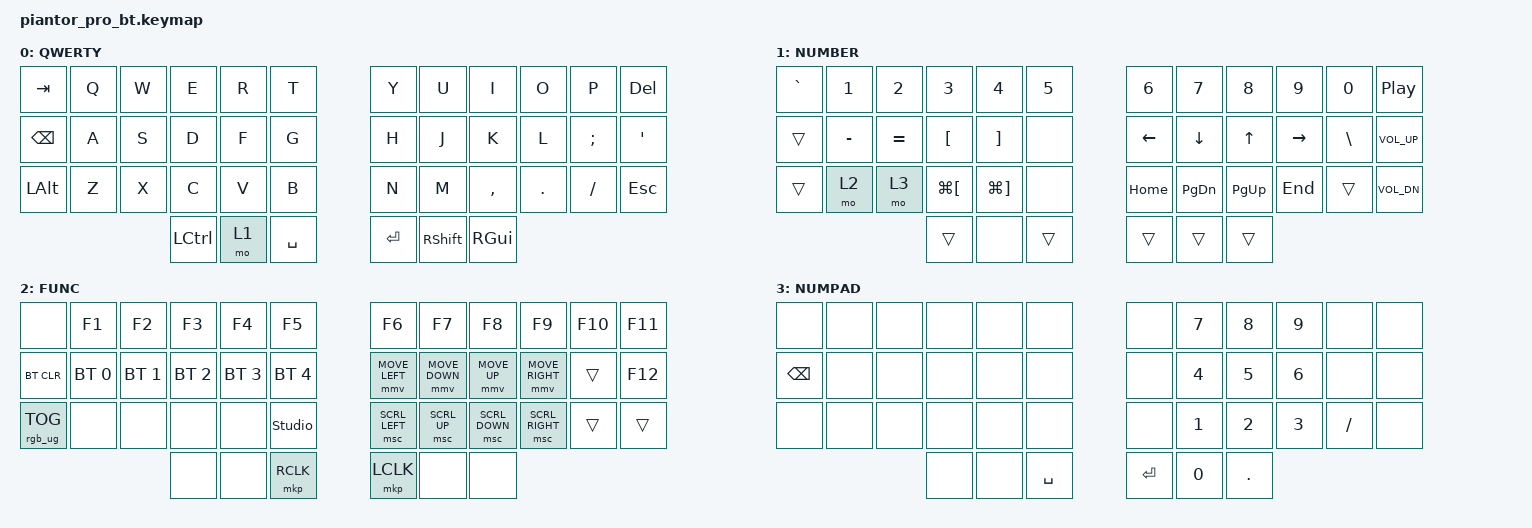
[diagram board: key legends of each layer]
/*
 * Copyright (c) 2020 The ZMK Contributors
 *
 * SPDX-License-Identifier: MIT
 */

#define ZMK_POINTING_DEFAULT_MOVE_VAL 2400  // default: 600
#define ZMK_POINTING_DEFAULT_SCRL_VAL 20    // default: 10

#include <behaviors.dtsi>
#include <dt-bindings/zmk/bt.h>
#include <dt-bindings/zmk/keys.h>
#include <dt-bindings/zmk/pointing.h>
#include <dt-bindings/zmk/rgb.h>

/ {
    chosen { zmk,physical-layout = &default_layout; };
};

/ {
    keymap {
        compatible = "zmk,keymap";

        default_layer {
            display-name = "QWERTY";
            bindings = <
&kp TAB   &kp Q  &kp W  &kp E  &kp R  &kp T          &kp Y  &kp U  &kp I     &kp O   &kp P     &kp DEL
&kp BSPC  &kp A  &kp S  &kp D  &kp F  &kp G          &kp H  &kp J  &kp K     &kp L   &kp SEMI  &kp APOS
&kp LALT  &kp Z  &kp X  &kp C  &kp V  &kp B          &kp N  &kp M  &kp COMMA &kp DOT &kp FSLH  &kp ESC
                  &kp LCTRL  &mo 1  &kp SPACE      &kp RET  &kp RSHFT  &kp RGUI
            >;
        };

        number_layer {
            display-name = "NUMBER";
            bindings = <
&kp GRAVE  &kp N1     &kp N2     &kp N3        &kp N4        &kp N5          &kp N6    &kp N7     &kp N8     &kp N9     &kp N0    &kp C_PLAY_PAUSE
&trans     &kp MINUS  &kp EQUAL  &kp LBKT      &kp RBKT      &none           &kp LEFT  &kp DOWN   &kp UP     &kp RIGHT  &kp BSLH  &kp C_VOL_UP
&trans     &mo 2      &mo 3      &kp LG(LBKT)  &kp LG(RBKT)  &none           &kp HOME  &kp PG_DN  &kp PG_UP  &kp END    &trans    &kp C_VOL_DN
                                                &trans  &none  &trans      &trans  &trans  &trans
            >;
        };

        function_layer {
            display-name = "FUNC";
            bindings = <
&none  &kp F1  &kp F2  &kp F3  &kp F4  &kp F5      &kp F6  &kp F7  &kp F8  &kp F9  &kp F10  &kp F11
&bt BT_CLR  &bt BT_SEL 0  &bt BT_SEL 1  &bt BT_SEL 2  &bt BT_SEL 3  &bt BT_SEL 4      &mmv MOVE_LEFT  &mmv MOVE_DOWN  &mmv MOVE_UP  &mmv MOVE_RIGHT  &trans  &kp F12
&rgb_ug RGB_TOG  &none  &none  &none  &none  &studio_unlock      &msc SCRL_LEFT  &msc SCRL_UP  &msc SCRL_DOWN  &msc SCRL_RIGHT  &trans  &trans
                                  &none  &none  &mkp RCLK  &mkp LCLK  &none  &none
            >;
        };

        numpad_layer {
            display-name = "NUMPAD";
            bindings = <
&none  &none  &none  &none  &none  &none       &none  &kp N7  &kp N8  &kp N9  &none  &none
&kp BACKSPACE  &none  &none  &none  &none      &none  &none  &kp N4  &kp N5  &kp N6  &none  &none
&none  &none  &none  &none  &none  &none       &none  &kp N1  &kp N2  &kp N3  &kp SLASH  &none
                   &none  &none  &kp SPACE    &kp ENTER  &kp N0  &kp PERIOD
            >;
        };
    };
};
